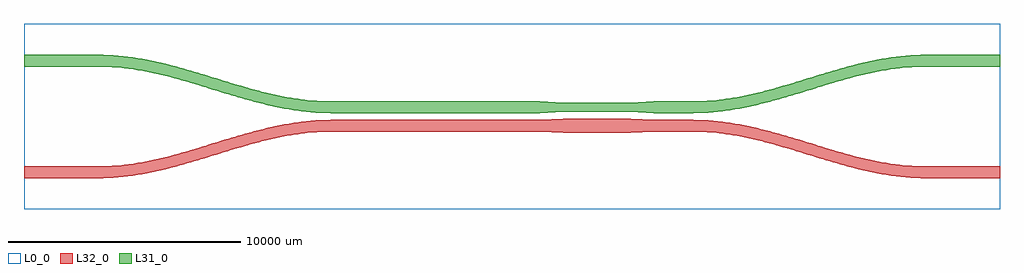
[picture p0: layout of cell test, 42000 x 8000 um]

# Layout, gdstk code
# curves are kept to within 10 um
import gdstk
lib = gdstk.Library(unit=1e-6, precision=1e-09)
def R(c, l, rs):  # rectangles x0, y0, x1, y1
    for r in rs: c.add(gdstk.rectangle(r[:2], r[2:], *l))
def P(c, l, *ps):  # polygons
    for p in ps: c.add(gdstk.Polygon(p, *l))
L0_0 = (0, 0)
L1_0 = (1, 0)
L2_0 = (2, 0)
L3_0 = (3, 0)
L4_0 = (4, 0)
L5_0 = (5, 0)
L31_0 = (31, 0)
L32_0 = (32, 0)

test = lib.new_cell('test')
R(test, L0_0, [(-21000,-4000,21000,4000)])
R(test, L31_0, [(-7800,150,1200,650), (6100,150,7800,650), (2200,200,5100,600)])
P(test, L31_0, [(-7800,150),(-8441,171),(-9071,231),(-9691,325),(-10301,446),(-11004,615),(-11599,778),(-13944,1485),(-14722,1701),(-15504,1887),(-16194,2016),(-16990,2115),(-17596,2148),(-21000,2150),(-21000,2650),(-17478,2645),(-16948,2613),(-16529,2569),(-15705,2438),(-14997,2285),(-14298,2105),(-11462,1259),(-10292,956),(-9604,817),(-9109,740),(-8408,670),(-7800,650)],
  [(7800,150),(7800,650),(8408,670),(9109,740),(9604,817),(10292,956),(11462,1259),(14298,2105),(14997,2285),(15705,2438),(16529,2569),(16948,2613),(17478,2645),(21000,2650),(21000,2150),(17596,2148),(16990,2115),(16392,2046),(15504,1887),(14722,1701),(13944,1485),(11599,778),(11004,615),(10301,446),(9691,325),(9071,231),(8441,171)],
  [(1200,150),(1200,650),(2200,600),(2200,200)],
  [(6100,150),(5100,200),(5100,600),(6100,650)])
R(test, L32_0, [(2200,-700,5100,-100), (-7800,-650,1200,-150), (6100,-650,7800,-150)])
P(test, L32_0, [(-21000,-2650),(-21000,-2150),(-17596,-2148),(-16990,-2115),(-16392,-2046),(-15504,-1887),(-14722,-1701),(-13944,-1485),(-11599,-778),(-11004,-615),(-10301,-446),(-9691,-325),(-9071,-231),(-8441,-171),(-7800,-150),(-7800,-650),(-8408,-670),(-9109,-740),(-9604,-817),(-10292,-956),(-11462,-1259),(-14298,-2105),(-14997,-2285),(-15705,-2438),(-16529,-2569),(-16948,-2613),(-17478,-2645)],
  [(17800,-2650),(17265,-2635),(16738,-2593),(16218,-2526),(15603,-2418),(14997,-2285),(14298,-2105),(11462,-1259),(10292,-956),(9604,-817),(9109,-740),(8408,-670),(7800,-650),(7800,-150),(8441,-171),(9071,-231),(9691,-325),(10301,-446),(11004,-615),(11599,-778),(13944,-1485),(14722,-1701),(15504,-1887),(16194,-2016),(16990,-2115),(17596,-2148),(21000,-2150),(21000,-2650)],
  [(2200,-700),(1200,-650),(1200,-150),(2200,-100)],
  [(5100,-700),(5100,-100),(6100,-150),(6100,-650)])
test.add(gdstk.FlexPath([(-18300,2649),(-18300,2150)], 0, ends="flush", simple_path=True, layer=1, datatype=0))  # L1_0
test.add(gdstk.FlexPath([(18300,2150),(18300,2650)], 0, ends="flush", simple_path=True, layer=3, datatype=0))  # L3_0
test.add(gdstk.FlexPath([(18300,-2150),(18300,-2650)], 0, ends="flush", simple_path=True, layer=4, datatype=0))  # L4_0
test.add(gdstk.FlexPath([(-18300,-2650),(-18300,-2150)], 0, ends="flush", simple_path=True, layer=2, datatype=0))  # L2_0
test.add(gdstk.FlexPath([(-18500,2649),(-18500,2150)], 0, ends="flush", simple_path=True, layer=5, datatype=0))  # L5_0

lib.write_gds('test.gds')
